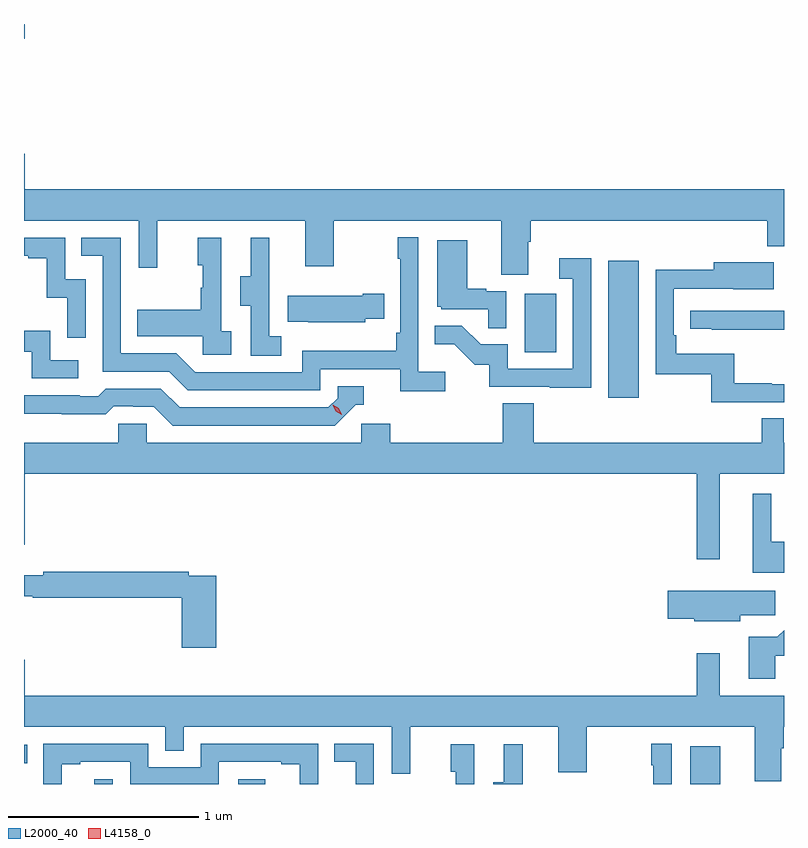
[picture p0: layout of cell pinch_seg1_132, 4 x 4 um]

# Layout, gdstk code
import gdstk
lib = gdstk.Library(unit=1e-6, precision=1e-09)
def R(c, l, rs):  # rectangles x0, y0, x1, y1
    for r in rs: c.add(gdstk.rectangle(r[:2], r[2:], *l))
def P(c, l, *ps):  # polygons
    for p in ps: c.add(gdstk.Polygon(p, *l))
L2000_40 = (2000, 40)
L4158_0 = (4158, 0)

pinch_seg1_132 = lib.new_cell('pinch_seg1_132')
R(pinch_seg1_132, L2000_40, [(1016.687,542.107,1016.784,542.131), (1017.443,542.107,1017.587,542.131), (1019.822,542.107,1019.98,542.305), (1016.316,542.216,1016.333,542.313), (1019.39,544.14,1019.551,544.861), (1018.952,544.38,1019.116,544.687), (1016.316,546.03,1016.32,546.107)])
P(pinch_seg1_132, L2000_40, [(1018.969,544.96),(1018.982,544.96),(1018.982,545.072),(1020.227,545.072),(1020.227,544.937),(1020.316,544.937),(1020.316,545.236),(1016.32,545.236),(1016.32,545.425),(1016.316,545.425),(1016.316,545.072),(1016.919,545.072),(1016.919,544.824),(1017.017,544.824),(1017.017,545.072),(1017.797,545.072),(1017.797,544.833),(1017.945,544.833),(1017.945,545.072),(1018.829,545.072),(1018.829,544.786),(1018.969,544.786)],
  [(1018.534,544.276),(1018.392,544.276),(1018.392,544.984),(1018.284,544.984),(1018.284,544.871),(1018.296,544.871),(1018.296,544.483),(1018.276,544.483),(1018.276,544.387),(1017.78,544.387),(1017.78,544.275),(1017.216,544.275),(1017.117,544.374),(1016.826,544.374),(1016.826,544.983),(1016.617,544.983),(1016.617,544.887),(1016.73,544.887),(1016.73,544.278),(1017.08,544.278),(1017.179,544.179),(1017.876,544.179),(1017.876,544.29),(1018.295,544.29),(1018.295,544.174),(1018.534,544.174)],
  [(1016.64,544.764),(1016.532,544.764),(1016.532,544.983),(1016.316,544.983),(1016.316,544.887),(1016.339,544.887),(1016.339,544.875),(1016.435,544.875),(1016.435,544.667),(1016.544,544.667),(1016.544,544.455),(1016.64,544.455)],
  [(1017.406,544.49),(1017.354,544.49),(1017.354,544.981),(1017.23,544.981),(1017.23,544.836),(1017.256,544.836),(1017.256,544.718),(1017.246,544.718),(1017.246,544.603),(1016.911,544.603),(1016.911,544.463),(1017.258,544.463),(1017.258,544.365),(1017.406,544.365)],
  [(1017.67,544.463),(1017.606,544.463),(1017.606,544.767),(1017.608,544.767),(1017.608,544.981),(1017.509,544.981),(1017.509,544.779),(1017.455,544.779),(1017.455,544.624),(1017.51,544.624),(1017.51,544.36),(1017.67,544.36)],
  [(1018.854,544.701),(1018.748,544.701),(1018.748,544.714),(1018.648,544.714),(1018.648,544.969),(1018.49,544.969),(1018.49,544.62),(1018.512,544.62),(1018.512,544.605),(1018.759,544.605),(1018.759,544.507),(1018.854,544.507)],
  [(1019.301,544.873),(1019.133,544.873),(1019.133,544.767),(1019.205,544.767),(1019.205,544.293),(1018.863,544.293),(1018.863,544.422),(1018.719,544.422),(1018.621,544.52),(1018.477,544.52),(1018.477,544.421),(1018.581,544.421),(1018.688,544.314),(1018.765,544.314),(1018.765,544.197),(1019.083,544.197),(1019.083,544.192),(1019.301,544.192)],
  [(1020.316,544.212),(1020.251,544.212),(1020.251,544.217),(1020.055,544.217),(1020.055,544.372),(1019.75,544.372),(1019.75,544.468),(1019.736,544.468),(1019.736,544.713),(1020.049,544.713),(1020.049,544.712),(1020.263,544.712),(1020.263,544.852),(1019.945,544.852),(1019.945,544.814),(1019.64,544.814),(1019.64,544.263),(1019.934,544.263),(1019.934,544.116),(1020.316,544.116)],
  [(1018.113,544.556),(1018.211,544.556),(1018.211,544.686),(1018.1,544.686),(1018.1,544.678),(1017.703,544.678),(1017.703,544.541),(1017.811,544.541),(1017.811,544.538),(1018.113,544.538)],
  [(1020.316,544.599),(1019.823,544.599),(1019.823,544.503),(1019.935,544.503),(1019.935,544.498),(1020.316,544.498)],
  [(1016.602,544.338),(1016.454,544.338),(1016.454,544.492),(1016.316,544.492),(1016.316,544.383),(1016.358,544.383),(1016.358,544.242),(1016.602,544.242)],
  [(1018.062,544.104),(1018.105,544.104),(1018.105,544.2),(1017.966,544.2),(1017.966,544.137),(1017.918,544.089),(1017.135,544.089),(1017.036,544.188),(1016.747,544.188),(1016.708,544.149),(1016.609,544.149),(1016.609,544.152),(1016.316,544.152),(1016.316,544.055),(1016.514,544.055),(1016.514,544.053),(1016.747,544.053),(1016.789,544.095),(1016.892,544.095),(1016.892,544.092),(1016.999,544.092),(1017.098,543.993),(1017.951,543.993)],
  [(1019.977,543.74),(1020.316,543.74),(1020.316,543.904),(1020.315,543.904),(1020.315,544.031),(1020.199,544.031),(1020.199,543.904),(1019,543.904),(1019,544.112),(1018.835,544.112),(1018.835,543.904),(1018.244,543.904),(1018.244,544.002),(1018.092,544.002),(1018.092,543.904),(1016.961,543.904),(1016.961,544.002),(1016.811,544.002),(1016.811,543.904),(1016.316,543.904),(1016.316,543.366),(1016.32,543.366),(1016.32,543.74),(1019.856,543.74),(1019.856,543.291),(1019.977,543.291)],
  [(1020.316,543.382),(1020.25,543.382),(1020.25,543.634),(1020.152,543.634),(1020.152,543.218),(1020.316,543.218)],
  [(1017.329,543.204),(1017.182,543.204),(1017.182,543.224),(1016.416,543.224),(1016.416,543.205),(1016.316,543.205),(1016.316,543.096),(1016.362,543.096),(1016.362,543.088),(1017.146,543.088),(1017.146,542.823),(1017.329,542.823)],
  [(1020.087,542.995),(1020.271,542.995),(1020.271,543.124),(1019.703,543.124),(1019.703,542.977),(1019.844,542.977),(1019.844,542.963),(1020.087,542.963)],
  [(1020.271,542.783),(1020.316,542.783),(1020.316,542.917),(1020.28,542.881),(1020.131,542.881),(1020.131,542.661),(1020.271,542.661)],
  [(1020.301,542.296),(1020.314,542.296),(1020.314,542.408),(1020.316,542.408),(1020.316,542.572),(1019.977,542.572),(1019.977,542.794),(1019.856,542.794),(1019.856,542.572),(1016.32,542.572),(1016.32,542.761),(1016.316,542.761),(1016.316,542.408),(1017.06,542.408),(1017.06,542.281),(1017.156,542.281),(1017.156,542.408),(1018.251,542.408),(1018.251,542.16),(1018.349,542.16),(1018.349,542.408),(1019.129,542.408),(1019.129,542.169),(1019.277,542.169),(1019.277,542.408),(1020.161,542.408),(1020.161,542.122),(1020.301,542.122)],
  [(1019.724,542.32),(1019.616,542.32),(1019.616,542.207),(1019.628,542.207),(1019.628,542.107),(1019.724,542.107)],
  [(1016.515,542.211),(1016.611,542.211),(1016.611,542.223),(1016.874,542.223),(1016.874,542.107),(1017.342,542.107),(1017.342,542.223),(1017.671,542.223),(1017.671,542.211),(1017.767,542.211),(1017.767,542.107),(1017.864,542.107),(1017.864,542.319),(1017.246,542.319),(1017.246,542.196),(1016.97,542.196),(1016.97,542.319),(1016.418,542.319),(1016.418,542.107),(1016.515,542.107)],
  [(1018.158,542.319),(1017.949,542.319),(1017.949,542.223),(1018.062,542.223),(1018.062,542.107),(1018.158,542.107)],
  [(1018.686,542.317),(1018.562,542.317),(1018.562,542.172),(1018.588,542.172),(1018.588,542.107),(1018.686,542.107)],
  [(1018.94,542.317),(1018.841,542.317),(1018.841,542.115),(1018.787,542.115),(1018.787,542.107),(1018.94,542.107)])
P(pinch_seg1_132, L4158_0, [(1017.989,544.051),(1017.958,544.07),(1017.942,544.103),(1017.942,544.103),(1017.942,544.103),(1017.973,544.084),(1017.989,544.051),(1017.989,544.051)])

lib.write_gds('pinch_seg1_132.gds')
